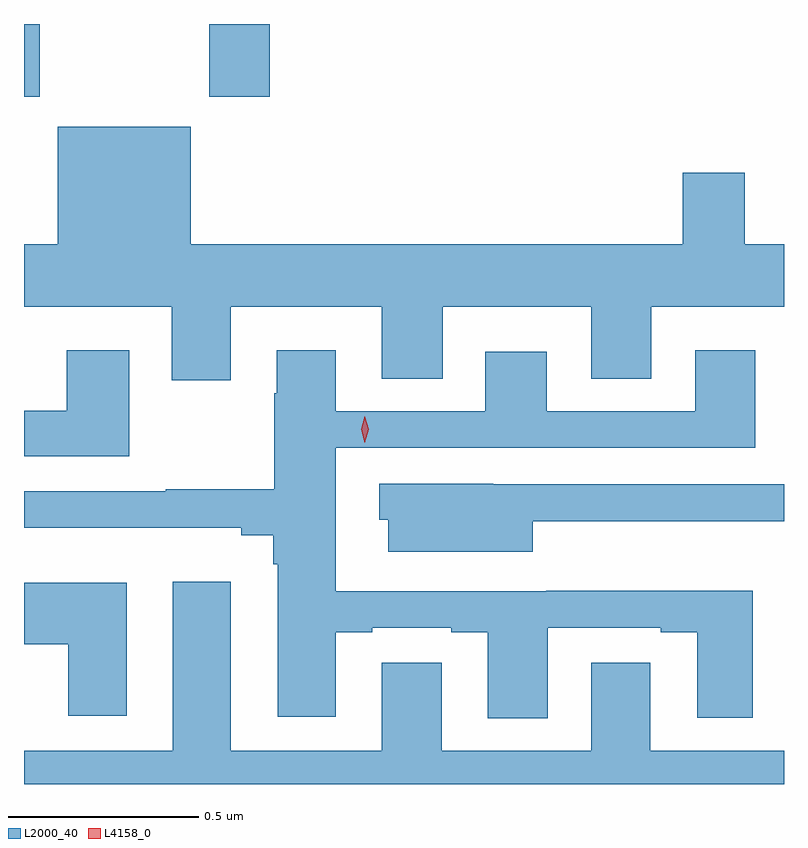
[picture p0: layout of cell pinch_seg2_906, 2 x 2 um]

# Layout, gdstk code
import gdstk
lib = gdstk.Library(unit=1e-6, precision=1e-09)
def R(c, l, rs):  # rectangles x0, y0, x1, y1
    for r in rs: c.add(gdstk.rectangle(r[:2], r[2:], *l))
def P(c, l, *ps):  # polygons
    for p in ps: c.add(gdstk.Polygon(p, *l))
L2000_40 = (2000, 40)
L4158_0 = (4158, 0)

pinch_seg2_906 = lib.new_cell('pinch_seg2_906')
R(pinch_seg2_906, L2000_40, [(391.047,622.881,391.089,623.072), (391.534,622.881,391.694,623.072)])
P(pinch_seg2_906, L2000_40, [(391.591,622.328),(391.988,622.328),(391.988,622.138),(392.149,622.138),(392.149,622.328),(392.54,622.328),(392.54,622.138),(392.698,622.138),(392.698,622.328),(393.047,622.328),(393.047,622.492),(392.944,622.492),(392.944,622.681),(392.78,622.681),(392.78,622.492),(391.486,622.492),(391.486,622.801),(391.136,622.801),(391.136,622.492),(391.047,622.492),(391.047,622.328),(391.436,622.328),(391.436,622.134),(391.591,622.134)],
  [(392.425,621.483),(392.723,621.483),(392.723,621.471),(392.819,621.471),(392.819,621.246),(392.965,621.246),(392.965,621.581),(392.421,621.581),(392.421,621.579),(391.867,621.579),(391.867,621.957),(392.971,621.957),(392.971,622.213),(392.813,622.213),(392.813,622.053),(392.422,622.053),(392.422,622.21),(392.261,622.21),(392.261,622.053),(391.867,622.053),(391.867,622.213),(391.712,622.213),(391.712,622.1),(391.705,622.1),(391.705,621.848),(391.42,621.848),(391.42,621.843),(391.047,621.843),(391.047,621.746),(391.619,621.746),(391.619,621.727),(391.703,621.727),(391.703,621.65),(391.715,621.65),(391.715,621.249),(391.867,621.249),(391.867,621.471),(391.963,621.471),(391.963,621.483),(392.171,621.483),(392.171,621.471),(392.267,621.471),(392.267,621.245),(392.425,621.245)],
  [(391.324,622.213),(391.16,622.213),(391.16,622.054),(391.047,622.054),(391.047,621.935),(391.324,621.935)],
  [(392.386,621.764),(393.047,621.764),(393.047,621.861),(392.282,621.861),(392.282,621.862),(391.982,621.862),(391.982,621.768),(392.006,621.768),(392.006,621.683),(392.386,621.683)],
  [(393.047,621.16),(392.695,621.16),(392.695,621.391),(392.54,621.391),(392.54,621.16),(392.146,621.16),(392.146,621.391),(391.988,621.391),(391.988,621.16),(391.591,621.16),(391.591,621.604),(391.439,621.604),(391.439,621.16),(391.047,621.16),(391.047,621.072),(393.047,621.072)],
  [(391.318,621.601),(391.047,621.601),(391.047,621.44),(391.163,621.44),(391.163,621.252),(391.318,621.252)])
P(pinch_seg2_906, L4158_0, [(391.944,621.97),(391.944,621.97),(391.934,622.005),(391.944,622.04),(391.944,622.04),(391.944,622.04),(391.954,622.005),(391.944,621.97)])

lib.write_gds('pinch_seg2_906.gds')
